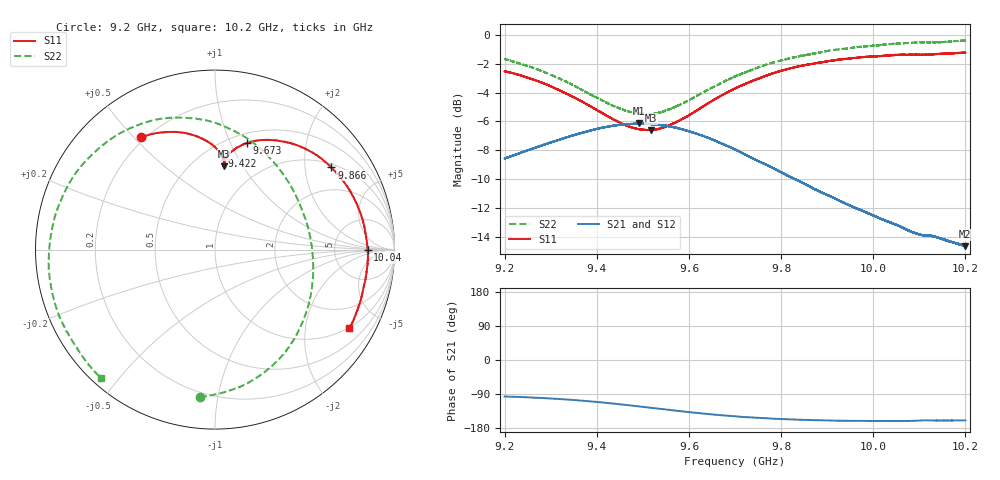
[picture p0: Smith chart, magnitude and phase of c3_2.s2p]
!Agilent Technologies,N5242A,MY51221714,A.09.90.19
!Agilent N5242A: A.09.90.19
!Date: Saturday, March 16, 2024 09:59:01
!Correction: S11(Full 2 Port(1,2))
!S21(Full 2 Port(1,2))
!S12(Full 2 Port(1,2))
!S22(Full 2 Port(1,2))
!S2P File: Measurements: S11, S21, S12, S22:
# Hz S  dB  R 50
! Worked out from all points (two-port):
!   16001 points, 9.2 GHz to 10.2 GHz, reference 50 ohm
!   highest |S21| = -6.13 dB at 9.491 GHz (marker M1); lowest = -14.7 dB at 10.2 GHz (marker M2)
!   |S21| within 3 dB of the highest: start of sweep to 9.776 GHz; 9.776462 GHz to 9.776582 GHz (120.1 kHz wide, 0.00123 % of centre)
!   lowest |S11| = -6.6 dB at 9.518 GHz (marker M3), VSWR 2.75, Z = 34.9 + j41.5 ohm
!   |S11| at or under -10 dB: nowhere
!   |S22| runs from -5.5 to -0.4 dB; largest |S21 - S12| = 0.0065
!   S11 on the Smith chart (normalised r, x): 9.2 GHz: 0.18, +0.52; 9.422 GHz: 0.60, +0.87; 9.673 GHz: 0.60, +1.15; 9.866 GHz: 1.11, +2.75; 10.04 GHz: 12, -0; 10.2 GHz: 0.97, -3.44
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9.2e9  -2.52 123.3  -8.57 -96.3  -8.56 -96.9  -1.66 -95.9
9.27775e9  -3.26 107.5  -7.71 -100.1  -7.68 -100.6  -2.48 -72.7
9.3235e9  -3.92 98.9  -7.22 -103.4  -7.20 -103.9  -3.10 -58.1
9.366688e9  -4.60 92.1  -6.80 -107.2  -6.78 -107.8  -3.79 -43.4
9.422e9  -5.62 85.9  -6.38 -113.2  -6.37 -114.0  -4.70 -22.1
9.491312e9  -6.54 83.7  -6.13 -122.4  -6.14 -123.1  -5.44 9.3
9.517688e9  -6.62 84.0  -6.20 -126.2  -6.19 -126.8  -5.49 22.1
9.533375e9  -6.52 84.4  -6.24 -128.3  -6.23 -128.9  -5.40 29.6
9.60925e9  -5.39 81.6  -6.78 -138.6  -6.76 -139.2  -4.37 62.4
9.673312e9  -4.16 73.3  -7.57 -146.1  -7.56 -146.6  -3.28 84.8
9.7e9  -3.72 68.8  -7.95 -148.6  -7.92 -149.2  -2.87 93.0
9.779562e9  -2.69 53.2  -9.20 -154.6  -9.19 -155.2  -1.94 115.9
9.822625e9  -2.29 44.3  -9.90 -156.9  -9.89 -157.4  -1.59 127.7
9.86625e9  -2.01 35.2  -10.58 -158.7  -10.57 -159.3  -1.32 139.4
9.866688e9  -2.01 35.1  -10.59 -158.7  -10.59 -159.3  -1.31 139.5
9.9095e9  -1.79 26.3  -11.24 -159.9  -11.22 -160.4  -1.07 150.9
9.95475e9  -1.60 17.0  -11.91 -160.6  -11.90 -161.2  -0.88 162.9
1.003338e10  -1.43 1.2  -12.96 -161.0  -12.96 -161.6  -0.64 -176.2
1.003969e10  -1.40 -0.1  -13.04 -161.1  -13.05 -161.6  -0.64 -174.6
1.011162e10  -1.36 -13.9  -13.89 -159.2  -13.90 -160.0  -0.50 -155.6
1.01995e10  -1.24 -30.1  -14.65 -159.4  -14.64 -160.1  -0.38 -131.9
1.02e10  -1.24 -30.3  -14.65 -159.4  -14.64 -160.1  -0.38 -131.7
